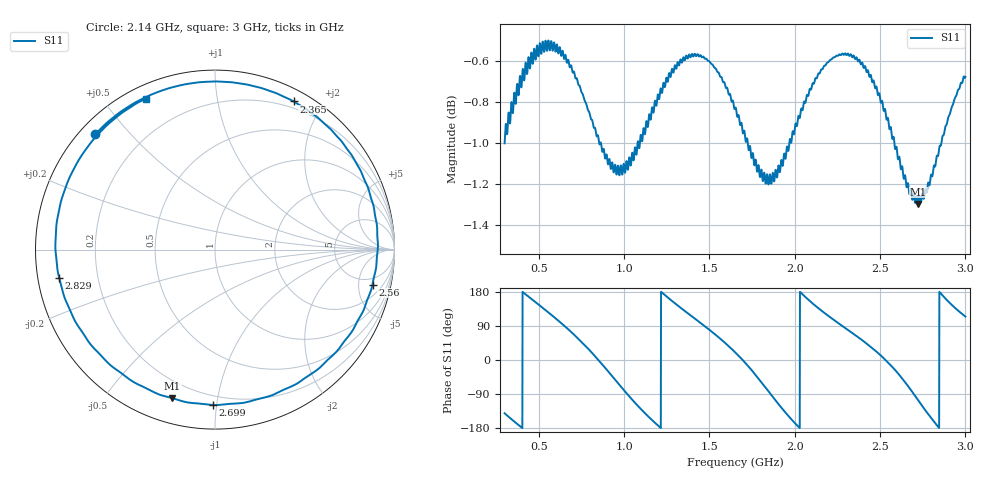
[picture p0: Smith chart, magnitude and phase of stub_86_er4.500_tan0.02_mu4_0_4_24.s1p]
! Chirptenna · simulación 3D de un stub abierto
# HZ S RI R 50
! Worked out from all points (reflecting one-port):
!   2001 points, 300 MHz to 3 GHz, reference 50 ohm
!   lowest |S11| = -1.3 dB at 2.723 GHz (marker M1), VSWR 13.42, Z = 5.82 - j37.3 ohm
!   phase of S11 starts at -141 deg and turns -1185 deg over the sweep
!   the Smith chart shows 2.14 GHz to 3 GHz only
!   S11 on the Smith chart (normalised r, x): 2.14 GHz: 0.04, +0.40; 2.365 GHz: 0.13, +1.66; 2.56 GHz: 3.63, -7.37; 2.699 GHz: 0.14, -0.98; 2.829 GHz: 0.06, -0.09; 3 GHz: 0.06, +0.64
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3e8  -0.6881 -0.5661
4.62e8  -0.8723 0.3315
6.375e8  -0.0835 0.9343
7.293e8  0.4992 0.7748
8.265e8  0.8798 0.1836
8.9805e8  0.7999 -0.3794
9.75e8  0.3476 -0.8043
1.05465e9  -0.2762 -0.8382
1.1532e9  -0.8125 -0.395
1.3125e9  -0.759 0.541
1.488e9  0.0989 0.9282
1.65e9  0.8494 0.3225
1.74315e9  0.8047 -0.3702
1.8363e9  0.2008 -0.852
1.9038e9  -0.3809 -0.7931
1.9875e9  -0.8423 -0.3079
2.0577e9  -0.8923 0.1885
2.14005e9  -0.6673 0.6429
2.325e9  0.2393 0.9051
2.3655e9  0.4379 0.8252
2.47485e9  0.8414 0.3703
2.5599e9  0.8777 -0.1945
2.6625e9  0.3263 -0.808
2.69895e9  -0.0105 -0.8657
2.72325e9  -0.238 -0.8278
2.82855e9  -0.8688 -0.156
2.919e9  -0.7531 0.5091
3e9  -0.3859 0.8404
